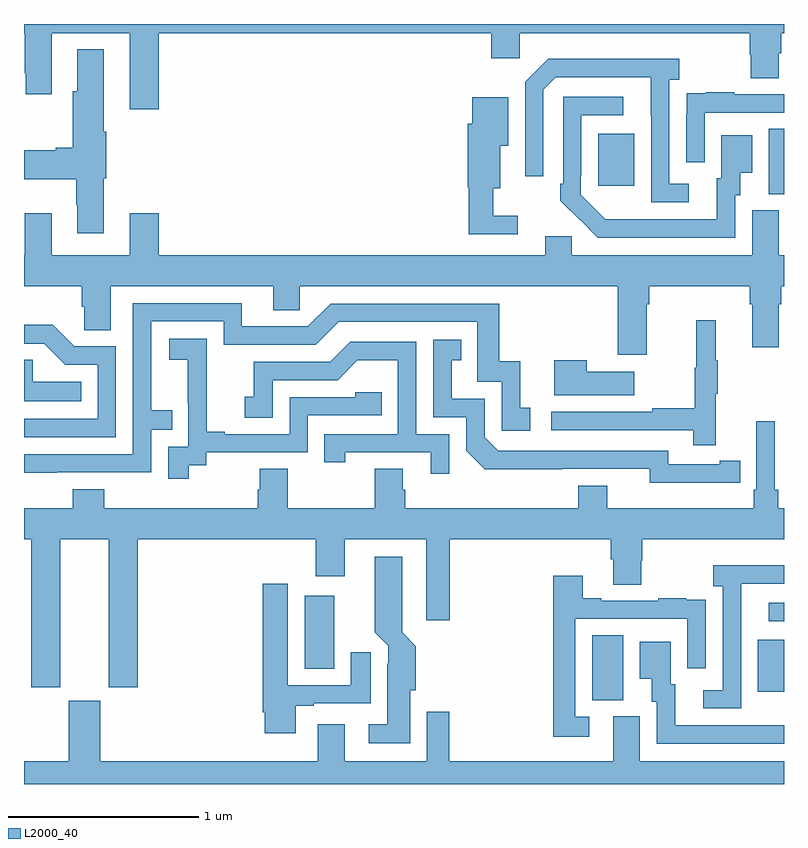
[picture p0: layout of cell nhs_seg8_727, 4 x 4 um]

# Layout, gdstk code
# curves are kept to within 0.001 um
import gdstk
lib = gdstk.Library(unit=1e-6, precision=1e-09)
def R(c, l, rs):  # rectangles x0, y0, x1, y1
    for r in rs: c.add(gdstk.rectangle(r[:2], r[2:], *l))
def P(c, l, *ps):  # polygons
    for p in ps: c.add(gdstk.Polygon(p, *l))
L2000_40 = (2000, 40)

nhs_seg8_727 = lib.new_cell('nhs_seg8_727')
R(nhs_seg8_727, L2000_40, [(161.99,1094.341,162.154,1094.684), (162.863,1094.385,163,1094.659), (160.478,1094.506,160.633,1094.89), (162.921,1094.757,163,1094.853), (162.92,1097.005,163,1097.348), (162.023,1097.049,162.211,1097.323)])
P(nhs_seg8_727, L2000_40, [(161.459,1097.721),(161.61,1097.721),(161.61,1097.852),(162.821,1097.852),(162.821,1097.739),(162.826,1097.739),(162.826,1097.614),(162.973,1097.614),(162.973,1097.746),(162.986,1097.746),(162.986,1097.852),(163,1097.852),(163,1097.9),(159,1097.9),(159,1097.852),(159.005,1097.852),(159.005,1097.641),(159.008,1097.641),(159.008,1097.529),(159.145,1097.529),(159.145,1097.852),(159.557,1097.852),(159.557,1097.451),(159.71,1097.451),(159.71,1097.852),(161.459,1097.852)],
  [(159.421,1097.088),(159.434,1097.088),(159.434,1097.332),(159.421,1097.332),(159.421,1097.767),(159.281,1097.767),(159.281,1097.547),(159.256,1097.547),(159.256,1097.249),(159.167,1097.249),(159.167,1097.236),(159,1097.236),(159,1097.084),(159.274,1097.084),(159.274,1096.95),(159.281,1096.95),(159.281,1096.8),(159.421,1096.8)],
  [(162.499,1097.058),(162.396,1097.058),(162.396,1097.606),(162.448,1097.606),(162.448,1097.716),(161.758,1097.716),(161.637,1097.595),(161.637,1097.1),(161.733,1097.1),(161.733,1097.553),(161.799,1097.619),(162.299,1097.619),(162.3,1096.962),(162.499,1096.962)],
  [(162.582,1097.433),(163,1097.433),(163,1097.529),(162.737,1097.529),(162.737,1097.542),(162.589,1097.542),(162.589,1097.535),(162.487,1097.535),(162.487,1097.426),(162.486,1097.426),(162.486,1097.172),(162.582,1097.172)],
  [(162.744,1096.998),(162.769,1096.998),(162.769,1097.117),(162.832,1097.117),(162.832,1097.314),(162.671,1097.314),(162.671,1097.088),(162.647,1097.088),(162.647,1096.872),(162.06,1096.873),(161.931,1097.001),(161.931,1097.101),(161.934,1097.101),(161.934,1097.421),(162.154,1097.421),(162.154,1097.517),(161.838,1097.517),(161.838,1097.059),(161.823,1097.059),(161.823,1096.971),(162.02,1096.776),(162.744,1096.776)],
  [(161.599,1096.891),(161.47,1096.891),(161.47,1097.036),(161.506,1097.036),(161.506,1097.258),(161.548,1097.258),(161.548,1097.515),(161.36,1097.515),(161.36,1097.376),(161.336,1097.376),(161.336,1097.04),(161.341,1097.04),(161.341,1096.794),(161.599,1096.794)],
  [(162.277,1096.424),(162.29,1096.424),(162.29,1096.52),(162.821,1096.52),(162.821,1096.424),(162.833,1096.424),(162.833,1096.2),(162.973,1096.2),(162.973,1096.424),(162.986,1096.424),(162.986,1096.52),(163,1096.52),(163,1096.684),(162.973,1096.684),(162.973,1096.92),(162.833,1096.92),(162.833,1096.684),(161.883,1096.684),(161.883,1096.782),(161.744,1096.782),(161.744,1096.684),(159.71,1096.684),(159.71,1096.903),(159.557,1096.903),(159.557,1096.684),(159.145,1096.684),(159.145,1096.903),(159.005,1096.903),(159.005,1096.684),(159,1096.684),(159,1096.52),(159.305,1096.52),(159.305,1096.411),(159.318,1096.411),(159.318,1096.288),(159.457,1096.288),(159.457,1096.52),(160.313,1096.52),(160.313,1096.393),(160.452,1096.393),(160.452,1096.52),(162.125,1096.52),(162.125,1096.158),(162.277,1096.158)],
  [(159.173,1095.54),(159.669,1095.54),(159.669,1095.765),(159.779,1095.765),(159.779,1095.866),(159.669,1095.866),(159.669,1096.335),(160.05,1096.335),(160.05,1096.212),(160.536,1096.212),(160.656,1096.332),(161.385,1096.332),(161.385,1096.017),(161.514,1096.017),(161.514,1095.759),(161.665,1095.759),(161.665,1095.879),(161.612,1095.879),(161.612,1096.126),(161.501,1096.126),(161.501,1096.428),(160.614,1096.428),(160.494,1096.308),(160.147,1096.308),(160.147,1096.431),(159.573,1096.431),(159.573,1095.636),(159,1095.636),(159,1095.539)],
  [(162.641,1095.955),(162.652,1095.955),(162.652,1096.129),(162.641,1096.129),(162.641,1096.342),(162.538,1096.342),(162.538,1096.092),(162.531,1096.092),(162.531,1095.878),(162.307,1095.878),(162.307,1095.858),(161.775,1095.858),(161.775,1095.762),(162.523,1095.762),(162.523,1095.684),(162.641,1095.684)],
  [(159.483,1096.203),(159.264,1096.203),(159.151,1096.316),(159,1096.316),(159,1096.218),(159.107,1096.218),(159.218,1096.107),(159.387,1096.107),(159.387,1095.822),(159,1095.822),(159,1095.726),(159.483,1095.726)],
  [(159.868,1095.577),(159.96,1095.577),(159.96,1095.645),(160.494,1095.645),(160.494,1095.84),(160.883,1095.84),(160.883,1095.963),(160.743,1095.963),(160.743,1095.936),(160.398,1095.936),(160.398,1095.741),(160.057,1095.741),(160.057,1095.754),(159.962,1095.754),(159.962,1096.037),(159.963,1096.037),(159.963,1096.243),(159.765,1096.243),(159.765,1096.133),(159.863,1096.133),(159.863,1095.905),(159.864,1095.905),(159.864,1095.675),(159.759,1095.675),(159.759,1095.507),(159.868,1095.507)],
  [(162.662,1095.486),(162.77,1095.486),(162.77,1095.602),(162.662,1095.602),(162.662,1095.582),(162.39,1095.582),(162.39,1095.654),(161.496,1095.654),(161.424,1095.726),(161.424,1095.927),(161.251,1095.927),(161.251,1096.131),(161.3,1096.131),(161.3,1096.237),(161.154,1096.237),(161.154,1095.831),(161.328,1095.831),(161.328,1095.654),(161.426,1095.557),(162.294,1095.558),(162.294,1095.485)],
  [(161.238,1095.741),(161.064,1095.741),(161.064,1096.227),(160.718,1096.227),(160.613,1096.122),(160.21,1096.122),(160.21,1095.937),(160.161,1095.937),(160.161,1095.828),(160.308,1095.828),(160.308,1096.026),(160.65,1096.026),(160.754,1096.13),(160.968,1096.13),(160.968,1095.741),(160.579,1095.741),(160.579,1095.594),(160.69,1095.594),(160.69,1095.645),(161.141,1095.645),(161.141,1095.534),(161.238,1095.534)],
  [(159.302,1096.018),(159.045,1096.018),(159.045,1096.133),(159,1096.133),(159,1095.914),(159.302,1095.914)],
  [(162.211,1096.069),(161.963,1096.069),(161.963,1096.129),(161.792,1096.129),(161.792,1095.947),(162.211,1095.947)],
  [(159.19,1095.188),(159.446,1095.188),(159.446,1094.409),(159.599,1094.409),(159.599,1095.188),(160.535,1095.188),(160.535,1094.994),(160.687,1094.994),(160.687,1095.188),(161.117,1095.188),(161.117,1094.763),(161.24,1094.763),(161.24,1095.188),(162.089,1095.188),(162.089,1095.082),(162.101,1095.082),(162.101,1094.95),(162.249,1094.95),(162.249,1095.075),(162.254,1095.075),(162.254,1095.188),(163,1095.188),(163,1095.352),(162.971,1095.352),(162.971,1095.448),(162.952,1095.448),(162.952,1095.808),(162.855,1095.808),(162.855,1095.448),(162.842,1095.448),(162.842,1095.352),(162.07,1095.352),(162.07,1095.469),(161.918,1095.469),(161.918,1095.352),(161.006,1095.352),(161.006,1095.45),(160.993,1095.45),(160.993,1095.56),(160.846,1095.56),(160.846,1095.352),(160.389,1095.352),(160.389,1095.56),(160.241,1095.56),(160.241,1095.45),(160.229,1095.45),(160.229,1095.352),(159.422,1095.352),(159.422,1095.451),(159.257,1095.451),(159.257,1095.352),(159,1095.352),(159,1095.188),(159.038,1095.188),(159.038,1094.409),(159.19,1094.409)],
  [(161.032,1094.394),(161.063,1094.394),(161.063,1094.626),(160.991,1094.698),(160.99,1095.097),(160.847,1095.097),(160.847,1094.698),(160.917,1094.628),(160.917,1094.534),(160.913,1094.534),(160.913,1094.215),(160.815,1094.215),(160.815,1094.114),(161.032,1094.114)],
  [(162.774,1094.755),(162.775,1094.755),(162.775,1094.955),(163,1094.955),(163,1095.052),(162.627,1095.052),(162.627,1094.942),(162.678,1094.942),(162.678,1094.394),(162.576,1094.394),(162.576,1094.298),(162.774,1094.298)],
  [(161.974,1094.253),(161.901,1094.253),(161.901,1094.769),(162.492,1094.769),(162.492,1094.508),(162.588,1094.508),(162.588,1094.762),(162.587,1094.762),(162.587,1094.871),(162.485,1094.871),(162.485,1094.878),(162.337,1094.878),(162.337,1094.865),(162.037,1094.865),(162.037,1094.878),(161.941,1094.878),(161.941,1094.995),(161.785,1094.995),(161.785,1094.148),(161.974,1094.148)],
  [(160.429,1094.313),(160.525,1094.313),(160.525,1094.325),(160.825,1094.325),(160.825,1094.593),(160.721,1094.593),(160.721,1094.421),(160.387,1094.421),(160.387,1094.953),(160.256,1094.953),(160.256,1094.278),(160.268,1094.278),(160.268,1094.166),(160.429,1094.166)],
  [(163,1094.209),(162.911,1094.209),(162.911,1094.208),(162.427,1094.208),(162.427,1094.424),(162.403,1094.424),(162.403,1094.65),(162.242,1094.65),(162.242,1094.453),(162.305,1094.453),(162.305,1094.334),(162.33,1094.334),(162.33,1094.112),(163,1094.112)],
  [(163,1094.02),(162.241,1094.02),(162.241,1094.256),(162.101,1094.256),(162.101,1094.02),(161.237,1094.02),(161.237,1094.281),(161.121,1094.281),(161.121,1094.02),(160.687,1094.02),(160.687,1094.215),(160.547,1094.215),(160.547,1094.02),(159.4,1094.02),(159.4,1094.337),(159.236,1094.337),(159.236,1094.02),(159,1094.02),(159,1093.9),(163,1093.9)])

lib.write_gds('nhs_seg8_727.gds')
